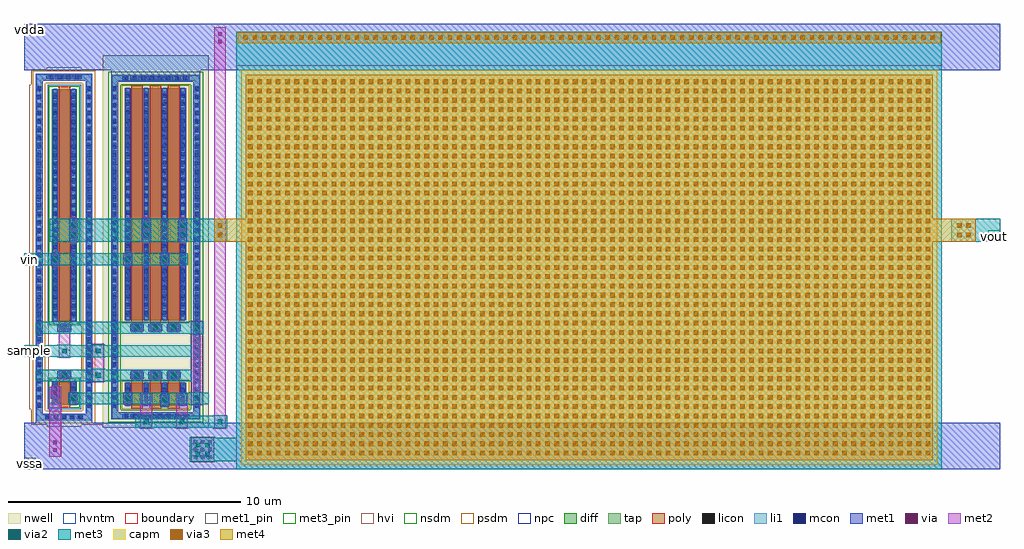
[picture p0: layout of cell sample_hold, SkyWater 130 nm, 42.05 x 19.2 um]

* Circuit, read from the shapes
.subckt sample_hold sample vdda vin vout vssa
XM1 n1 sample vssa vssa sky130_fd_pr__nfet_g5v0d10v5 w=1 l=0.5
XM2 vout sample vin vssa sky130_fd_pr__nfet_g5v0d10v5 w=10 l=0.5
XM3 vdda sample n1 vdda sky130_fd_pr__pfet_g5v0d10v5 w=1 l=0.5 m=3
XM4 vout n1 vin vdda sky130_fd_pr__pfet_g5v0d10v5 w=10 l=0.5 m=3
XC5 vout vssa sky130_fd_pr__cap_mim_m3_1 w=30 l=17
.ends

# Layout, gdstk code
from math import pi, radians
import gdstk
lib = gdstk.Library(unit=1e-6, precision=1e-09)
def R(c, l, rs):  # rectangles x0, y0, x1, y1
    for r in rs: c.add(gdstk.rectangle(r[:2], r[2:], *l))
def A(c, l, x, y, w, h, nx, ny, dx, dy):  # array of equal rectangles
    R(c, l, [(x+i*dx, y+j*dy, x+i*dx+w, y+j*dy+h) for i in range(nx) for j in range(ny)])
nwell = (64, 20)
diff = (65, 20)
tap = (65, 44)
poly = (66, 20)
licon = (66, 44)
li1 = (67, 20)
mcon = (67, 44)
met1_pin = (68, 16)
met1 = (68, 20)
via = (68, 44)
met2 = (69, 20)
via2 = (69, 44)
met3_pin = (70, 16)
met3 = (70, 20)
via3 = (70, 44)
met4 = (71, 20)
hvi = (75, 20)
capm = (89, 44)
nsdm = (93, 44)
psdm = (94, 20)
npc = (95, 20)
hvntm = (125, 20)
boundary = (235, 4)

sky130_fd_pr__pfet_g5v0d = lib.new_cell('sky130_fd_pr__pfet_g5v0d10v5_PE8P5C')
R(sky130_fd_pr__pfet_g5v0d, nwell, [(-1.51,-5.49,1.51,5.32)])
R(sky130_fd_pr__pfet_g5v0d, diff, [(-1.33,-5.18,1.33,4.82)])
A(sky130_fd_pr__pfet_g5v0d, poly, -1.04, -5.31, 0.5, 10.615, 3, 1, 0.79, 0)
A(sky130_fd_pr__pfet_g5v0d, licon, -1.27, -5.025, 0.17, 0.17, 4, 29, 0.79, 0.34)
A(sky130_fd_pr__pfet_g5v0d, licon, -0.875, 5.055, 0.17, 0.17, 3, 1, 0.79, 0)
A(sky130_fd_pr__pfet_g5v0d, li1, -1.27, -5.2, 0.17, 10.04, 4, 1, 0.79, 0)
A(sky130_fd_pr__pfet_g5v0d, li1, -1.04, 5.055, 0.5, 0.17, 3, 1, 0.79, 0)
A(sky130_fd_pr__pfet_g5v0d, mcon, -1.27, -4.945, 0.17, 0.17, 4, 27, 0.79, 0.36)
A(sky130_fd_pr__pfet_g5v0d, mcon, -0.875, 5.055, 0.17, 0.17, 3, 1, 0.79, 0)
A(sky130_fd_pr__pfet_g5v0d, met1, -1.3, -5.18, 0.23, 10, 4, 1, 0.79, 0)
A(sky130_fd_pr__pfet_g5v0d, met1, -1.02, 5.025, 0.46, 0.23, 3, 1, 0.79, 0)
R(sky130_fd_pr__pfet_g5v0d, hvi, [(-1.51,-5.49,1.51,-5.365), (-1.515,-5.365,1.515,5.005), (-1.51,5.005,1.51,5.32)])
R(sky130_fd_pr__pfet_g5v0d, psdm, [(-1.455,-5.305,1.455,4.945)])
A(sky130_fd_pr__pfet_g5v0d, npc, -0.975, 4.955, 0.37, 0.37, 3, 1, 0.79, 0)

sky130_fd_pr__nfet_g5v0d = lib.new_cell('sky130_fd_pr__nfet_g5v0d10v5_H5TWCS')
R(sky130_fd_pr__nfet_g5v0d, diff, [(-0.54,-5.155,0.54,4.845)])
R(sky130_fd_pr__nfet_g5v0d, poly, [(-0.25,-5.285,0.25,5.285)])
A(sky130_fd_pr__nfet_g5v0d, licon, -0.48, -5, 0.17, 0.17, 1, 29, 0, 0.34)
A(sky130_fd_pr__nfet_g5v0d, licon, 0.31, -5, 0.17, 0.17, 1, 29, 0, 0.34)
R(sky130_fd_pr__nfet_g5v0d, licon, [(-0.085,5.035,0.085,5.205)])
R(sky130_fd_pr__nfet_g5v0d, li1, [(-0.48,-5.175,-0.31,4.865), (0.31,-5.175,0.48,4.865), (-0.25,5.035,0.25,5.205)])
A(sky130_fd_pr__nfet_g5v0d, mcon, -0.48, -4.92, 0.17, 0.17, 1, 27, 0, 0.36)
A(sky130_fd_pr__nfet_g5v0d, mcon, 0.31, -4.92, 0.17, 0.17, 1, 27, 0, 0.36)
R(sky130_fd_pr__nfet_g5v0d, mcon, [(-0.085,5.035,0.085,5.205)])
R(sky130_fd_pr__nfet_g5v0d, met1, [(-0.51,-5.155,-0.28,4.845), (0.28,-5.155,0.51,4.845), (-0.23,5.005,0.23,5.235)])
R(sky130_fd_pr__nfet_g5v0d, hvi, [(-0.725,-5.34,0.725,5.03)])
R(sky130_fd_pr__nfet_g5v0d, nsdm, [(-0.665,-5.28,0.665,4.97)])
R(sky130_fd_pr__nfet_g5v0d, npc, [(-0.185,4.935,0.185,5.305)])
R(sky130_fd_pr__nfet_g5v0d, hvntm, [(-0.725,-5.34,0.725,5.03)])

c_sky130_fd_pr__nfet_g5v0d = lib.new_cell('sky130_fd_pr__nfet_g5v0d10v5_SMV9TY')
R(c_sky130_fd_pr__nfet_g5v0d, diff, [(-0.54,-0.655,0.54,0.345)])
R(c_sky130_fd_pr__nfet_g5v0d, poly, [(-0.25,-0.785,0.25,0.785)])
A(c_sky130_fd_pr__nfet_g5v0d, licon, -0.48, -0.58, 0.17, 0.17, 1, 3, 0, 0.34)
A(c_sky130_fd_pr__nfet_g5v0d, licon, 0.31, -0.58, 0.17, 0.17, 1, 3, 0, 0.34)
R(c_sky130_fd_pr__nfet_g5v0d, licon, [(-0.085,0.535,0.085,0.705)])
R(c_sky130_fd_pr__nfet_g5v0d, li1, [(-0.48,-0.675,-0.31,0.365), (0.31,-0.675,0.48,0.365), (-0.25,0.535,0.25,0.705)])
R(c_sky130_fd_pr__nfet_g5v0d, mcon, [(-0.48,-0.42,-0.31,-0.25), (0.31,-0.42,0.48,-0.25), (-0.48,-0.06,-0.31,0.11), (0.31,-0.06,0.48,0.11), (-0.085,0.535,0.085,0.705)])
R(c_sky130_fd_pr__nfet_g5v0d, met1, [(-0.51,-0.655,-0.28,0.345), (0.28,-0.655,0.51,0.345), (-0.23,0.505,0.23,0.735)])
R(c_sky130_fd_pr__nfet_g5v0d, hvi, [(-0.725,-0.84,0.725,0.53)])
R(c_sky130_fd_pr__nfet_g5v0d, nsdm, [(-0.665,-0.78,0.665,0.47)])
R(c_sky130_fd_pr__nfet_g5v0d, npc, [(-0.185,0.435,0.185,0.805)])
R(c_sky130_fd_pr__nfet_g5v0d, hvntm, [(-0.725,-0.84,0.725,0.53)])

c_sky130_fd_pr__pfet_g5v0d = lib.new_cell('sky130_fd_pr__pfet_g5v0d10v5_PEM9WF')
R(c_sky130_fd_pr__pfet_g5v0d, nwell, [(-1.51,-0.99,1.51,0.82)])
R(c_sky130_fd_pr__pfet_g5v0d, diff, [(-1.33,-0.68,1.33,0.32)])
A(c_sky130_fd_pr__pfet_g5v0d, poly, -1.04, -0.81, 0.5, 1.615, 3, 1, 0.79, 0)
A(c_sky130_fd_pr__pfet_g5v0d, licon, -1.27, -0.605, 0.17, 0.17, 4, 3, 0.79, 0.34)
A(c_sky130_fd_pr__pfet_g5v0d, licon, -0.875, 0.555, 0.17, 0.17, 3, 1, 0.79, 0)
A(c_sky130_fd_pr__pfet_g5v0d, li1, -1.27, -0.7, 0.17, 1.04, 4, 1, 0.79, 0)
A(c_sky130_fd_pr__pfet_g5v0d, li1, -1.04, 0.555, 0.5, 0.17, 3, 1, 0.79, 0)
A(c_sky130_fd_pr__pfet_g5v0d, mcon, -1.27, -0.445, 0.17, 0.17, 4, 2, 0.79, 0.36)
A(c_sky130_fd_pr__pfet_g5v0d, mcon, -0.875, 0.555, 0.17, 0.17, 3, 1, 0.79, 0)
A(c_sky130_fd_pr__pfet_g5v0d, met1, -1.3, -0.68, 0.23, 1, 4, 1, 0.79, 0)
A(c_sky130_fd_pr__pfet_g5v0d, met1, -1.02, 0.525, 0.46, 0.23, 3, 1, 0.79, 0)
R(c_sky130_fd_pr__pfet_g5v0d, hvi, [(-1.51,-0.99,1.51,-0.865), (-1.515,-0.865,1.515,0.505), (-1.51,0.505,1.51,0.82)])
R(c_sky130_fd_pr__pfet_g5v0d, psdm, [(-1.455,-0.805,1.455,0.445)])
A(c_sky130_fd_pr__pfet_g5v0d, npc, -0.975, 0.455, 0.37, 0.37, 3, 1, 0.79, 0)

sky130_fd_pr__cap_mim_m3 = lib.new_cell('sky130_fd_pr__cap_mim_m3_1_9ZMSDV')
R(sky130_fd_pr__cap_mim_m3, met3, [(-9.43,-15.2,9.43,15.2)])
A(sky130_fd_pr__cap_mim_m3, via3, 9.07, -14.9, 0.2, 0.2, 1, 75, 0, 0.4)
A(sky130_fd_pr__cap_mim_m3, via3, -8.83, -14.7, 0.2, 0.2, 41, 74, 0.4, 0.4)
R(sky130_fd_pr__cap_mim_m3, met4, [(8.93,-15.14,9.41,15.14), (-9.035,-14.805,7.575,14.805)])
R(sky130_fd_pr__cap_mim_m3, capm, [(-9.23,-15,7.77,15)])
R(sky130_fd_pr__cap_mim_m3, boundary, [(-9.43,-15.2,7.97,15.2)])

sample_hold = lib.new_cell('sample_hold')
R(sample_hold, nwell, [(9.4,-3.05,13.95,4.85), (9.4,4.85,12.55,4.875), (13.115,4.85,13.95,5.595), (9.4,4.875,10.955,5.62), (11.55,4.875,12.55,4.9), (11.6,4.9,12.55,5.595), (11.6,5.595,13.95,5.645), (9.4,5.62,11.03,5.645), (9.4,5.645,13.95,13)])
R(sample_hold, tap, [(6.5,-2.75,8.95,-2.45), (9.75,-2.7,13.6,-2.4), (6.5,-2.45,6.8,11.9), (8.65,-2.45,8.95,11.9), (9.75,-2.4,10.05,11.85), (13.3,-2.4,13.6,11.85), (9.75,11.85,13.6,12.15), (6.5,11.9,8.95,12.2)])
A(sample_hold, licon, 6.96, -2.685, 0.17, 0.17, 5, 2, 0.34, 14.65)
A(sample_hold, licon, 10.23, -2.635, 0.17, 0.17, 9, 2, 0.34, 14.55)
A(sample_hold, licon, 6.565, -2.16, 0.17, 0.17, 1, 41, 0, 0.34)
A(sample_hold, licon, 8.715, -2.16, 0.17, 0.17, 1, 41, 0, 0.34)
A(sample_hold, licon, 9.815, -2.16, 0.17, 0.17, 1, 41, 0, 0.34)
A(sample_hold, licon, 13.365, -2.16, 0.17, 0.17, 1, 41, 0, 0.34)
R(sample_hold, li1, [(6.55,-2.7,8.9,-2.5), (9.8,-2.65,13.55,-2.45), (6.55,-2.5,6.75,11.95), (8.7,-2.5,8.9,11.95), (9.8,-2.45,10,11.9), (13.35,-2.45,13.55,11.9), (9.8,11.9,13.55,12.1), (6.55,11.95,8.9,12.15)])
A(sample_hold, mcon, 6.92, -2.685, 0.17, 0.17, 5, 1, 0.36, 0)
A(sample_hold, mcon, 10.33, -2.635, 0.17, 0.17, 8, 2, 0.36, 14.55)
A(sample_hold, mcon, 6.565, -2.2, 0.17, 0.17, 1, 39, 0, 0.36)
A(sample_hold, mcon, 8.715, -2.2, 0.17, 0.17, 1, 39, 0, 0.36)
A(sample_hold, mcon, 9.815, -2.2, 0.17, 0.17, 1, 39, 0, 0.36)
A(sample_hold, mcon, 13.365, -2.2, 0.17, 0.17, 1, 39, 0, 0.36)
A(sample_hold, mcon, 7.1, 11.965, 0.17, 0.17, 4, 1, 0.36, 0)
R(sample_hold, met1_pin, [(6,-4.85,6.5,-4.35), (6,13.85,6.5,14.35)])
A(sample_hold, met1, 11.07, -2.12, 0.39, 0.5, 3, 1, 0.79, 0)
A(sample_hold, met1, 10.57, -0.95, 0.6, 0.3, 3, 2, 0.79, 2.05)
R(sample_hold, met1, [(6,-4.85,48.05,-2.85), (6.5,-2.85,8.95,-2.45), (9.75,-2.7,13.6,-2.4), (6.5,-2.45,6.8,11.9), (7.095,-2.45,7.595,-1.98), (8.65,-2.45,8.95,11.9), (9.75,-2.4,10.05,11.85), (13.3,-2.4,13.6,11.85), (7.94,-2.05,8.33,-1.55), (10.28,-2.05,10.67,-1.55), (7.15,-1.8,7.54,-1.3), (7.44,-0.93,8.04,-0.63), (7.44,1.085,8.04,1.385), (7.15,3.95,7.54,4.45), (10.28,3.95,10.67,4.45), (11.86,3.95,12.25,4.45), (7.94,4.95,8.33,5.95), (11.07,4.95,11.465,5.95), (12.65,4.95,13.04,5.95), (9.75,11.85,13.6,12.35), (6.5,11.9,8.95,12.2), (6,12.35,48.05,14.35)])
A(sample_hold, via, 13.305, -4.395, 0.15, 0.15, 3, 3, 0.32, 0.32)
A(sample_hold, via, 11.19, -1.945, 0.15, 0.15, 3, 1, 0.79, 0)
A(sample_hold, via, 10.795, -0.875, 0.15, 0.15, 3, 2, 0.79, 2.05)
A(sample_hold, via, 8.06, 5.055, 0.15, 0.15, 1, 3, 0, 0.32)
A(sample_hold, via, 11.19, 5.055, 0.15, 0.15, 1, 3, 0, 0.32)
A(sample_hold, via, 12.77, 5.055, 0.15, 0.15, 1, 3, 0, 0.32)
R(sample_hold, via, [(7.27,-4.085,7.42,-3.935), (7.27,-3.765,7.42,-3.615), (8.06,-1.875,8.21,-1.725), (10.4,-1.875,10.55,-1.725), (7.27,-1.625,7.42,-1.475), (7.665,-0.855,7.815,-0.705), (7.665,1.16,7.815,1.31), (7.27,4.125,7.42,4.275), (10.4,4.125,10.55,4.275), (11.98,4.125,12.13,4.275), (14.375,13.515,14.525,13.665), (14.375,13.835,14.525,13.985)])
A(sample_hold, met2, 10.62, -1, 0.5, 0.4, 3, 2, 0.79, 2.05)
R(sample_hold, met2, [(13.2,-4.55,14.2,-3.45), (7.095,-4.3,7.595,-1.3), (11.015,-3.1,11.515,-1.62), (12.55,-3.1,13.05,-1.55), (14.2,-3.1,14.7,14.2), (11.91,-2.17,12.2,-1.57), (7.99,-2.1,8.28,-1.5), (10.33,-2.1,10.62,-1.5), (13.2,-2.1,13.7,1.55), (11.12,-1.62,11.41,-1.57), (7.2,-1.3,7.49,-1.25), (8.95,-1.1,9.45,0.55), (7.49,-0.98,7.99,-0.58), (7.49,-0.05,7.99,1.435), (7.2,3.9,7.49,4.5), (10.33,3.9,10.62,4.5), (11.91,3.9,12.2,4.5), (7.99,4.9,8.28,6), (11.12,4.9,11.415,6), (12.7,4.9,12.99,6)])
A(sample_hold, via2, 10.77, -0.9, 0.2, 0.2, 3, 2, 0.79, 2.05)
R(sample_hold, via2, [(13.4,-4.3,13.6,-4.1), (13.8,-4.3,14,-4.1), (13.4,-3.9,13.6,-3.7), (13.8,-3.9,14,-3.7), (11.165,-2.9,11.365,-2.7), (12.7,-2.9,12.9,-2.7), (14.35,-2.9,14.55,-2.7), (11.955,-1.97,12.155,-1.77), (8.035,-1.9,8.235,-1.7), (10.375,-1.9,10.575,-1.7), (13.35,-1.9,13.55,-1.7), (9.1,-0.9,9.3,-0.7), (7.64,-0.88,7.84,-0.68), (7.64,0.15,7.84,0.35), (9.1,0.15,9.3,0.35), (13.35,1.15,13.55,1.35), (7.245,4.1,7.445,4.3), (10.375,4.1,10.575,4.3), (11.955,4.1,12.155,4.3), (8.035,5.15,8.235,5.35), (11.165,5.15,11.365,5.35), (12.745,5.15,12.945,5.35), (8.035,5.55,8.235,5.75), (11.165,5.55,11.365,5.75), (12.745,5.55,12.945,5.75)])
R(sample_hold, met3_pin, [(6,0,6.5,0.5), (6,3.95,6.5,4.45), (47.55,4.95,48.05,5.45)])
A(sample_hold, met3, 8.9, -1.075, 0.6, 0.025, 1, 4, 0, 0.525)
R(sample_hold, met3, [(13.15,-4.525,14.25,-4.5), (13.15,-4.5,17.8,-3.5), (13.15,-3.5,14.25,-3.475), (10.965,-3.075,11.565,-3.05), (12.5,-3.075,13.1,-3.05), (14.15,-3.075,14.75,-3.05), (10.8,-3.05,14.75,-2.55), (10.965,-2.55,11.565,-2.525), (12.5,-2.55,13.1,-2.525), (14.15,-2.55,14.75,-2.525), (11.86,-2.145,12.25,-2.05), (7.94,-2.075,8.33,-2.05), (10.28,-2.075,10.67,-2.05), (13.15,-2.075,13.75,-2.05), (7.9,-2.05,13.95,-1.55), (7.94,-1.55,8.33,-1.525), (10.28,-1.55,10.67,-1.525), (13.15,-1.55,13.75,-1.525), (6.5,-1.05,13.2,-0.55), (7.44,-0.025,8.04,0), (6,0,13.2,0.5), (7.44,0.5,8.04,0.525), (13.15,0.975,13.75,1), (6.5,1,13.75,1.5), (13.15,1.5,13.75,1.525), (7.15,3.925,7.54,3.95), (10.28,3.925,10.67,3.95), (11.86,3.925,12.25,3.95), (6,3.95,13.05,4.45), (7.15,4.45,7.54,4.475), (10.28,4.45,10.67,4.475), (11.86,4.45,12.25,4.475), (7.94,4.925,8.33,4.95), (11.07,4.925,11.465,4.95), (12.65,4.925,13.04,4.95), (7.1,4.95,14.75,5.95), (45.95,4.95,48.05,5.95), (7.94,5.95,8.33,5.975), (11.07,5.95,11.465,5.975), (12.65,5.95,13.04,5.975)])
R(sample_hold, via3, [(14.35,5.15,14.55,5.35), (46.2,5.15,46.4,5.35), (46.6,5.15,46.8,5.35), (14.35,5.55,14.55,5.75), (46.2,5.55,46.4,5.75), (46.6,5.55,46.8,5.75)])
R(sample_hold, met4, [(14.195,4.945,14.705,4.95), (45.995,4.945,47.005,4.95), (14.195,4.95,47.005,5.95), (14.195,5.95,14.705,5.955), (45.995,5.95,47.005,5.955)])
R(sample_hold, hvi, [(9.4,-3.05,13.95,-2.935), (6.985,-3.02,8.465,-2.935), (6.315,-2.935,13.95,-2.265), (6.23,-2.265,13.95,-2.18), (6.23,-2.18,7.07,11.63), (8.465,-2.18,13.95,11.63), (6.23,11.63,13.95,11.715), (6.315,11.715,13.95,12.385), (6.985,12.385,8.465,12.47), (9.4,12.385,13.95,13)])
R(sample_hold, nsdm, [(9.625,-2.825,13.725,-2.275), (9.625,-2.275,10.175,11.725), (13.175,-2.275,13.725,11.725), (9.625,11.725,13.725,12.275)])
R(sample_hold, psdm, [(6.375,-2.875,9.075,-2.325), (6.375,-2.325,6.925,11.775), (8.525,-2.325,9.075,11.775), (6.375,11.775,9.075,12.325)])
sample_hold.add(gdstk.Reference(sky130_fd_pr__pfet_g5v0d, (11.66,6.39), rotation=pi))
sample_hold.add(gdstk.Reference(sky130_fd_pr__nfet_g5v0d, (7.74,6.37), rotation=pi))
sample_hold.add(gdstk.Reference(c_sky130_fd_pr__nfet_g5v0d, (7.74,-1.415)))
sample_hold.add(gdstk.Reference(c_sky130_fd_pr__pfet_g5v0d, (11.66,-1.44), rotation=pi, x_reflection=True))
sample_hold.add(gdstk.Reference(sky130_fd_pr__cap_mim_m3, (30.35,4.58), rotation=pi/2, x_reflection=True))
sample_hold.add(gdstk.Label('sample', (6.25,0.25), layer=70, texttype=5))
sample_hold.add(gdstk.Label('vdda', (6.25,14.1), layer=68, texttype=5))
sample_hold.add(gdstk.Label('vssa', (6.25,-4.6), layer=68, texttype=5))
sample_hold.add(gdstk.Label('vout', (47.8,5.2), layer=70, texttype=5))
sample_hold.add(gdstk.Label('vin', (6.25,4.2), layer=70, texttype=5))

lib.write_gds('sample_hold.gds')
